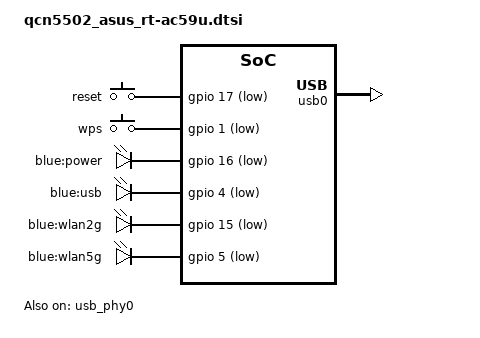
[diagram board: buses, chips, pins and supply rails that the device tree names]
// SPDX-License-Identifier: GPL-2.0-or-later OR MIT

#include "qcn5502_asus.dtsi"

#include <dt-bindings/gpio/gpio.h>
#include <dt-bindings/input/input.h>

/ {
	aliases {
		led-boot = &led_power;
		led-failsafe = &led_power;
		led-running = &led_power;
		led-upgrade = &led_power;
	};

	keys {
		compatible = "gpio-keys";

		reset {
			label = "reset";
			linux,code = <KEY_RESTART>;
			gpios = <&gpio 17 GPIO_ACTIVE_LOW>;
			debounce-interval = <60>;
		};

		wps {
			label = "wps";
			linux,code = <KEY_WPS_BUTTON>;
			gpios = <&gpio 1 GPIO_ACTIVE_LOW>;
			debounce-interval = <60>;
		};
	};

	leds {
		compatible = "gpio-leds";

		led_power: power {
			label = "blue:power";
			gpios = <&gpio 16 GPIO_ACTIVE_LOW>;
		};

		usb {
			label = "blue:usb";
			gpios = <&gpio 4 GPIO_ACTIVE_LOW>;
			trigger-sources = <&hub_port0>;
			linux,default-trigger = "usbport";
		};

		wlan2g {
			label = "blue:wlan2g";
			gpios = <&gpio 15 GPIO_ACTIVE_LOW>;
			linux,default-trigger = "phy1tpt";
		};

		wlan5g {
			label = "blue:wlan5g";
			gpios = <&gpio 5 GPIO_ACTIVE_LOW>;
			linux,default-trigger = "phy0tpt";
		};
	};
};

&usb_phy0 {
	status = "okay";
};

&usb0 {
	status = "okay";
};
